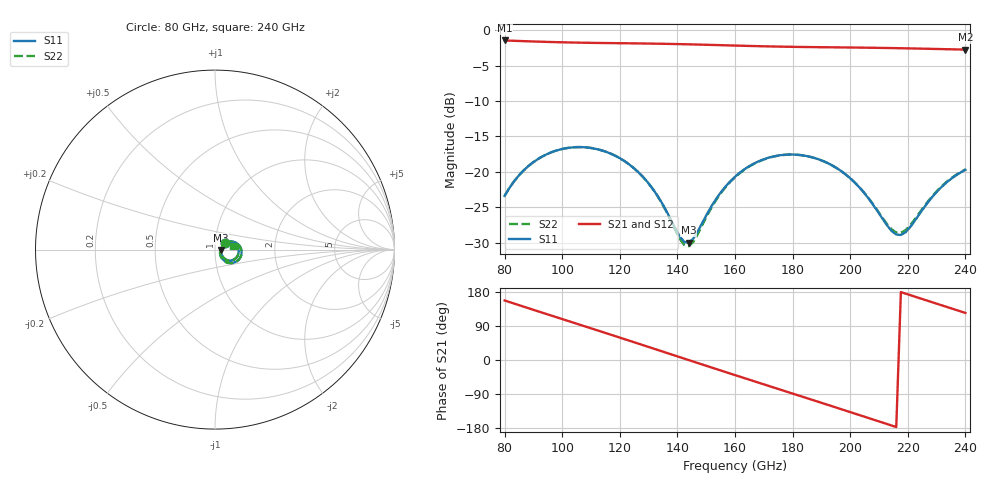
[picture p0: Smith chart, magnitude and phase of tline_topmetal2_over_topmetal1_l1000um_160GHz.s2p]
#  GHZ S DB R 50
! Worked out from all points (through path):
!   101 points, 80 GHz to 240 GHz, reference 50 ohm
!   highest |S21| = -1.46 dB at 80 GHz (marker M1); lowest = -2.8 dB at 240 GHz (marker M2)
!   group delay of S21, straight-line fit = 6.82 ps
!   lowest |S11| = -30.0 dB at 144 GHz (marker M3), VSWR 1.07, Z = 53.2 - j0.361 ohm
!   |S11| at or under -10 dB: start of sweep to end of sweep
!   |S22| runs from -30.5 to -16.5 dB; largest |S21 - S12| = 1.4e-15
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80  -23.40 33.6  -1.46 157.1  -1.46 157.1  -23.39 33.2
86.4  -19.89 26.6  -1.56 141.3  -1.56 141.3  -19.88 26.1
94.4  -17.57 12.8  -1.66 121.7  -1.66 121.7  -17.56 12.2
100.8  -16.71 0.5  -1.73 106.1  -1.73 106.1  -16.70 -0.1
107.2  -16.52 -11.9  -1.78 90.5  -1.78 90.5  -16.51 -12.6
113.6  -16.97 -24.2  -1.82 74.8  -1.82 74.8  -16.95 -25.0
120  -18.08 -35.8  -1.85 59.1  -1.85 59.1  -18.07 -36.8
128  -20.69 -47.7  -1.89 39.3  -1.89 39.3  -20.70 -49.0
134.4  -24.24 -50.7  -1.93 23.5  -1.93 23.5  -24.29 -52.6
140.8  -29.10 -31.6  -1.98 7.6  -1.98 7.6  -29.44 -34.0
144  -29.99 -6.1  -2.01 -0.4  -2.01 -0.4  -30.49 -7.0
152  -24.74 27.5  -2.10 -20.2  -2.10 -20.2  -24.92 28.4
160  -20.69 23.6  -2.18 -39.8  -2.18 -39.8  -20.77 24.1
168  -18.55 11.8  -2.27 -59.4  -2.27 -59.4  -18.59 12.0
174.4  -17.74 0.7  -2.32 -74.9  -2.32 -74.9  -17.77 0.9
187.2  -17.99 -21.9  -2.40 -106.1  -2.40 -106.1  -18.00 -21.9
200  -20.91 -40.7  -2.46 -137.5  -2.46 -137.5  -20.90 -40.5
208  -24.67 -42.9  -2.50 -157.2  -2.50 -157.2  -24.60 -42.5
214.4  -28.35 -24.8  -2.54 -172.9  -2.54 -172.9  -28.12 -24.5
219.2  -28.53 3.5  -2.57 175.2  -2.57 175.2  -28.24 2.6
227.2  -24.20 24.1  -2.64 155.5  -2.64 155.5  -24.06 22.5
240  -19.72 13.9  -2.75 124.2  -2.75 124.2  -19.66 12.3
